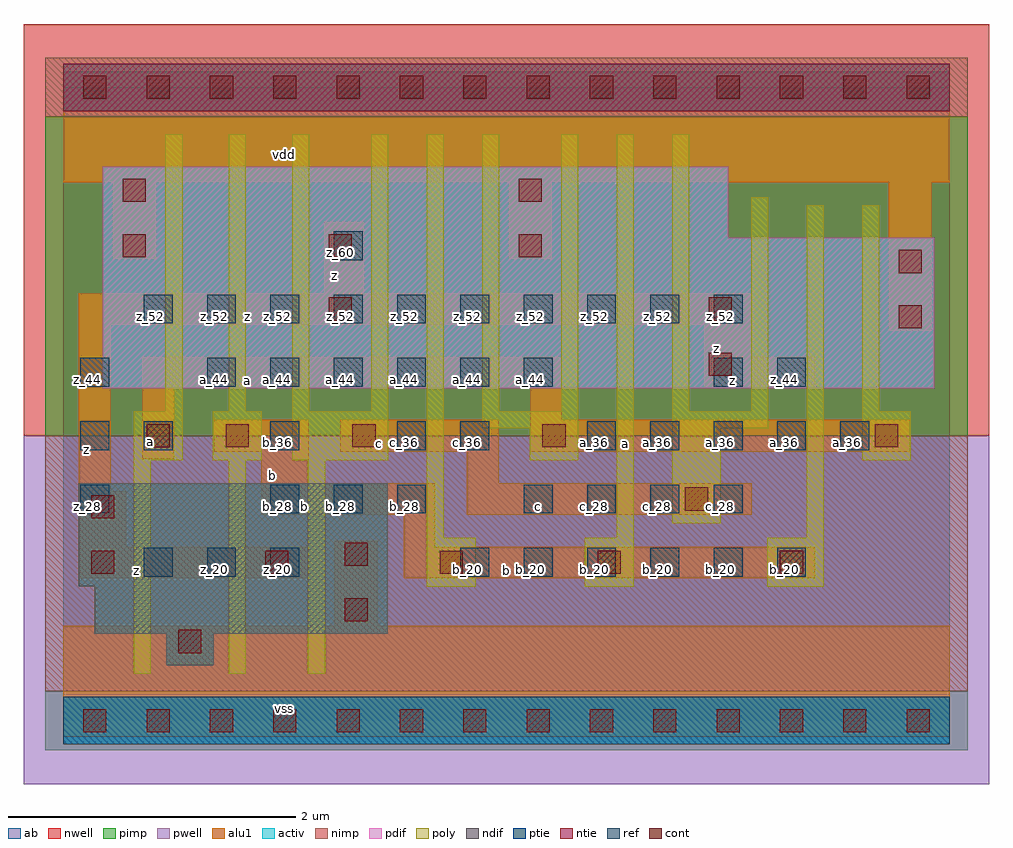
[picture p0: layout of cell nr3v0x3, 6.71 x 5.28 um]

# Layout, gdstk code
import gdstk
lib = gdstk.Library(unit=1e-6, precision=2.5e-09)
def R(c, l, rs):  # rectangles x0, y0, x1, y1
    for r in rs: c.add(gdstk.rectangle(r[:2], r[2:], *l))
def A(c, l, x, y, w, h, nx, ny, dx, dy):  # array of equal rectangles
    R(c, l, [(x+i*dx, y+j*dy, x+i*dx+w, y+j*dy+h) for i in range(nx) for j in range(ny)])
ndif = (3, 0)
pdif = (4, 0)
ntie = (5, 0)
ptie = (6, 0)
ref = (24, 0)
cont = (25, 0)
pwell = (41, 0)
nwell = (42, 0)
activ = (43, 0)
pimp = (44, 0)
nimp = (45, 0)
poly = (46, 0)
alu1 = (49, 0)
ab = (63, 0)

nr3v0x3 = lib.new_cell('nr3v0x3')
R(nr3v0x3, ndif, [(0.715,0.385,1.045,0.605), (0.22,0.605,2.255,0.935), (0.11,0.935,2.255,1.65)])
R(nr3v0x3, pdif, [(0.275,2.31,6.05,3.355), (0.275,3.355,4.62,3.85)])
R(nr3v0x3, ntie, [(0,4.235,6.16,4.565)])
R(nr3v0x3, ptie, [(0,-0.165,6.16,0.165)])
A(nr3v0x3, ref, 0.56, 1, 0.2, 0.2, 3, 1, 0.44, 0)
A(nr3v0x3, ref, 2.76, 1, 0.2, 0.2, 6, 1, 0.44, 0)
A(nr3v0x3, ref, 0.12, 1.44, 0.2, 0.2, 1, 3, 0, 0.44)
A(nr3v0x3, ref, 1.44, 1.44, 0.2, 0.2, 3, 1, 0.44, 0)
A(nr3v0x3, ref, 3.2, 1.44, 0.2, 0.2, 4, 1, 0.44, 0)
A(nr3v0x3, ref, 0.56, 1.88, 0.2, 0.2, 3, 1, 0.88, 0)
A(nr3v0x3, ref, 3.64, 1.88, 0.2, 0.2, 5, 1, 0.44, 0)
A(nr3v0x3, ref, 1, 2.32, 0.2, 0.2, 6, 1, 0.44, 0)
A(nr3v0x3, ref, 0.56, 2.76, 0.2, 0.2, 10, 1, 0.44, 0)
R(nr3v0x3, ref, [(2.76,1.88,2.96,2.08), (4.52,2.32,4.72,2.52), (4.96,2.32,5.16,2.52), (1.88,3.2,2.08,3.4)])
A(nr3v0x3, cont, 0.14, -0.08, 0.16, 0.16, 14, 2, 0.44, 4.4)
A(nr3v0x3, cont, 0.195, 1.02, 0.16, 0.16, 3, 1, 1.21, 0)
R(nr3v0x3, cont, [(0.8,0.47,0.96,0.63), (1.955,0.69,2.115,0.85), (3.715,1.02,3.875,1.18), (4.98,1.02,5.14,1.18), (1.955,1.075,2.115,1.235), (0.195,1.405,0.355,1.565), (4.32,1.46,4.48,1.62), (0.58,1.9,0.74,2.06), (1.13,1.9,1.29,2.06), (2.01,1.9,2.17,2.06), (3.33,1.9,3.49,2.06), (5.64,1.9,5.8,2.06), (4.485,2.395,4.645,2.555), (5.805,2.725,5.965,2.885), (1.845,2.78,2.005,2.94), (4.485,2.78,4.645,2.94), (5.805,3.11,5.965,3.27), (0.415,3.22,0.575,3.38), (1.845,3.22,2.005,3.38), (3.165,3.22,3.325,3.38), (0.415,3.605,0.575,3.765), (3.165,3.605,3.325,3.765)])
R(nr3v0x3, pwell, [(-0.275,-0.44,6.435,1.98)])
R(nr3v0x3, nwell, [(-0.275,1.98,6.435,4.84)])
R(nr3v0x3, activ, [(0,-0.165,6.16,0.165), (0.715,0.385,1.045,0.605), (0.22,0.605,2.255,0.935), (0.11,0.935,2.255,1.65), (0.275,2.31,6.05,3.355), (0.275,3.355,4.62,3.85), (0,4.235,6.16,4.565)])
R(nr3v0x3, pimp, [(-0.125,-0.205,6.285,0.205), (-0.125,1.98,6.285,4.195)])
R(nr3v0x3, nimp, [(-0.125,0.205,6.285,1.98), (-0.125,4.195,6.285,4.605)])
A(nr3v0x3, poly, 0.71, 2.15, 0.12, 1.925, 3, 1, 0.44, 0)
R(nr3v0x3, poly, [(0.49,0.325,0.61,1.81), (1.15,0.325,1.27,1.81), (1.7,0.325,1.82,1.81), (2.525,0.93,2.865,1.27), (3.625,0.93,3.965,1.27), (4.89,0.93,5.285,1.27), (2.525,1.27,2.645,4.075), (3.845,1.27,3.965,4.075), (5.165,1.27,5.285,3.58), (4.23,1.37,4.57,2.03), (0.49,1.81,0.83,2.15), (1.04,1.81,1.38,2.15), (1.59,1.81,2.26,2.15), (3.24,1.81,3.58,2.03), (5.55,1.81,5.89,2.15), (2.91,2.03,3.58,2.15), (4.23,2.03,4.9,2.15), (2.14,2.15,2.26,4.075), (2.91,2.15,3.03,4.075), (3.46,2.15,3.58,4.075), (4.23,2.15,4.35,4.075), (4.78,2.15,4.9,3.635), (5.55,2.15,5.67,3.58)])
R(nr3v0x3, alu1, [(0,-0.11,6.16,0.66), (1.885,0.66,2.185,1.25), (0.11,0.99,1.705,1.21), (2.365,0.99,5.225,1.21), (0.11,1.21,0.44,1.595), (2.365,1.21,2.585,1.43), (1.375,1.43,2.585,1.65), (2.805,1.43,4.785,1.65), (0.11,1.595,0.33,2.75), (1.375,1.65,1.705,1.87), (2.805,1.65,3.025,1.87), (0.55,1.815,0.77,2.31), (1.045,1.87,1.705,2.09), (1.925,1.87,3.025,2.09), (3.245,1.87,5.885,2.09), (3.245,2.09,3.465,2.31), (0.55,2.31,3.465,2.53), (4.455,2.31,5.225,2.53), (4.455,2.53,4.785,2.75), (5.735,2.71,6.035,3.74), (0.11,2.75,4.785,2.97), (1.815,2.97,2.09,3.465), (0.345,3.205,0.645,3.74), (3.095,3.205,3.395,3.74), (0,3.74,6.16,4.51)])
R(nr3v0x3, ab, [(0,0,6.16,4.4)])
nr3v0x3.add(gdstk.Label('vss', (1.54,0.0825), layer=49, texttype=0))
nr3v0x3.add(gdstk.Label('b', (3.08,1.045), layer=49, texttype=0))
nr3v0x3.add(gdstk.Label('z', (0.5075,1.045), layer=49, texttype=0))
nr3v0x3.add(gdstk.Label('c', (3.3,1.485), layer=49, texttype=0))
nr3v0x3.add(gdstk.Label('b', (1.6775,1.485), layer=49, texttype=0))
nr3v0x3.add(gdstk.Label('b', (1.4575,1.705), layer=49, texttype=0))
nr3v0x3.add(gdstk.Label('a', (3.905,1.925), layer=49, texttype=0))
nr3v0x3.add(gdstk.Label('c', (2.2,1.925), layer=49, texttype=0))
nr3v0x3.add(gdstk.Label('a', (0.605,1.9375), layer=49, texttype=0))
nr3v0x3.add(gdstk.Label('z', (4.6475,2.365), layer=49, texttype=0))
nr3v0x3.add(gdstk.Label('a', (1.2775,2.365), layer=49, texttype=0))
nr3v0x3.add(gdstk.Label('z', (4.5375,2.585), layer=49, texttype=0))
nr3v0x3.add(gdstk.Label('z', (0.165,1.8825), layer=49, texttype=0))
nr3v0x3.add(gdstk.Label('z', (1.2775,2.805), layer=49, texttype=0))
nr3v0x3.add(gdstk.Label('z', (1.8825,3.0925), layer=49, texttype=0))
nr3v0x3.add(gdstk.Label('vdd', (1.54,3.9325), layer=49, texttype=0))
nr3v0x3.add(gdstk.Label('z_44', (5.01,2.37), layer=24, texttype=0))
nr3v0x3.add(gdstk.Label('a_36', (5.01,1.93), layer=24, texttype=0))
nr3v0x3.add(gdstk.Label('b_20', (5.01,1.05), layer=24, texttype=0))
nr3v0x3.add(gdstk.Label('z_52', (4.57,2.81), layer=24, texttype=0))
nr3v0x3.add(gdstk.Label('z_44', (4.57,2.37), layer=24, texttype=0))
nr3v0x3.add(gdstk.Label('a_36', (4.57,1.93), layer=24, texttype=0))
nr3v0x3.add(gdstk.Label('c_28', (4.57,1.49), layer=24, texttype=0))
nr3v0x3.add(gdstk.Label('b_20', (4.57,1.05), layer=24, texttype=0))
nr3v0x3.add(gdstk.Label('z_52', (4.13,2.81), layer=24, texttype=0))
nr3v0x3.add(gdstk.Label('a_36', (4.13,1.93), layer=24, texttype=0))
nr3v0x3.add(gdstk.Label('c_28', (4.13,1.49), layer=24, texttype=0))
nr3v0x3.add(gdstk.Label('b_20', (4.13,1.05), layer=24, texttype=0))
nr3v0x3.add(gdstk.Label('z_52', (3.69,2.81), layer=24, texttype=0))
nr3v0x3.add(gdstk.Label('a_36', (3.69,1.93), layer=24, texttype=0))
nr3v0x3.add(gdstk.Label('c_28', (3.69,1.49), layer=24, texttype=0))
nr3v0x3.add(gdstk.Label('b_20', (3.69,1.05), layer=24, texttype=0))
nr3v0x3.add(gdstk.Label('z_52', (3.25,2.81), layer=24, texttype=0))
nr3v0x3.add(gdstk.Label('a_44', (3.25,2.37), layer=24, texttype=0))
nr3v0x3.add(gdstk.Label('c_28', (3.25,1.49), layer=24, texttype=0))
nr3v0x3.add(gdstk.Label('b_20', (3.25,1.05), layer=24, texttype=0))
nr3v0x3.add(gdstk.Label('z_52', (2.81,2.81), layer=24, texttype=0))
nr3v0x3.add(gdstk.Label('a_44', (2.81,2.37), layer=24, texttype=0))
nr3v0x3.add(gdstk.Label('c_36', (2.81,1.93), layer=24, texttype=0))
nr3v0x3.add(gdstk.Label('b_20', (2.81,1.05), layer=24, texttype=0))
nr3v0x3.add(gdstk.Label('z_52', (2.37,2.81), layer=24, texttype=0))
nr3v0x3.add(gdstk.Label('a_44', (2.37,2.37), layer=24, texttype=0))
nr3v0x3.add(gdstk.Label('c_36', (2.37,1.93), layer=24, texttype=0))
nr3v0x3.add(gdstk.Label('b_28', (2.37,1.49), layer=24, texttype=0))
nr3v0x3.add(gdstk.Label('z_44', (0.17,2.37), layer=24, texttype=0))
nr3v0x3.add(gdstk.Label('z_36', (0.17,1.93), layer=24, texttype=0))
nr3v0x3.add(gdstk.Label('z_28', (0.17,1.49), layer=24, texttype=0))
nr3v0x3.add(gdstk.Label('z_60', (1.93,3.25), layer=24, texttype=0))
nr3v0x3.add(gdstk.Label('z_52', (1.93,2.81), layer=24, texttype=0))
nr3v0x3.add(gdstk.Label('a_44', (1.93,2.37), layer=24, texttype=0))
nr3v0x3.add(gdstk.Label('b_28', (1.93,1.49), layer=24, texttype=0))
nr3v0x3.add(gdstk.Label('z_52', (1.49,2.81), layer=24, texttype=0))
nr3v0x3.add(gdstk.Label('a_44', (1.49,2.37), layer=24, texttype=0))
nr3v0x3.add(gdstk.Label('b_36', (1.49,1.93), layer=24, texttype=0))
nr3v0x3.add(gdstk.Label('b_28', (1.49,1.49), layer=24, texttype=0))
nr3v0x3.add(gdstk.Label('z_20', (1.49,1.05), layer=24, texttype=0))
nr3v0x3.add(gdstk.Label('z_52', (1.05,2.81), layer=24, texttype=0))
nr3v0x3.add(gdstk.Label('a_44', (1.05,2.37), layer=24, texttype=0))
nr3v0x3.add(gdstk.Label('z_20', (1.05,1.05), layer=24, texttype=0))
nr3v0x3.add(gdstk.Label('z_52', (0.61,2.81), layer=24, texttype=0))
nr3v0x3.add(gdstk.Label('a_36', (0.61,1.93), layer=24, texttype=0))
nr3v0x3.add(gdstk.Label('z_20', (0.61,1.05), layer=24, texttype=0))
nr3v0x3.add(gdstk.Label('a_36', (5.45,1.93), layer=24, texttype=0))

lib.write_gds('nr3v0x3.gds')
